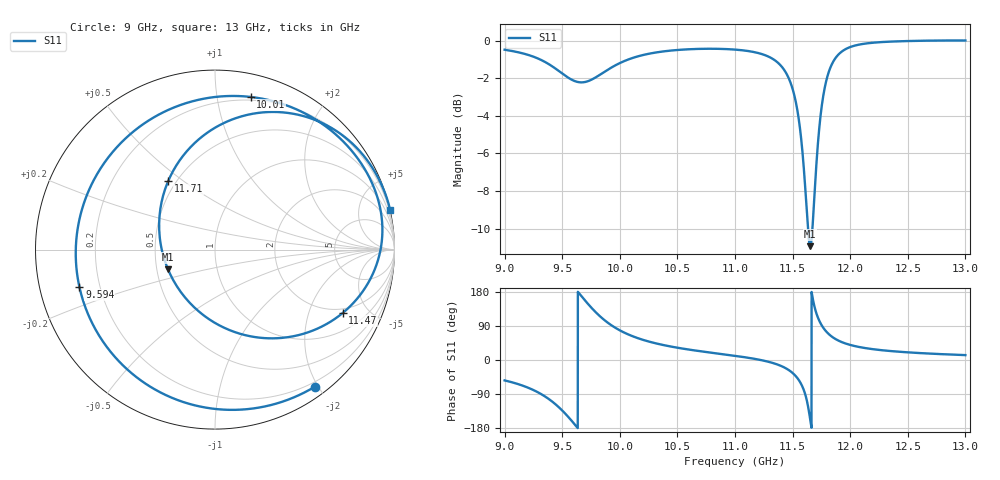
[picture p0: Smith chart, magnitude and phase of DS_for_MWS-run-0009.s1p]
! TOUCHSTONE file generated by CST DESIGN STUDIO
! Date and time: Tue Jan 28 13:43:21 2025
! Project name: C:\Work\MatlabApps\UnitCellOptimizationMatlab\CST\unitcell.cst
! Tree item: Tasks\Sweep1\SPara1\S-Parameters
! Header version: 2024
! Port assignment regex: !\s*Touchstone port\s*([0-9]+)\s*=\s*(CST MWS port|CST DES external port|CST DES block port)\s*(.+)\s* \(\"(.*)\"\)(\s*mode\s*([0-9]+))?.*
! Touchstone port assignment:
! Touchstone port 1 = CST DES external port 1 ("")
# GHz S MA R 50
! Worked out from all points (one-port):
!   4001 points, 9 GHz to 13 GHz, reference 50 ohm
!   lowest |S11| = -10.9 dB at 11.65 GHz (marker M1), VSWR 1.79, Z = 28.7 - j6.87 ohm
!   |S11| at or under -10 dB: 11.63335 GHz to 11.67202 GHz (38.68 MHz wide, 0.332 % of centre)
!   S11 on the Smith chart (normalised r, x): 9 GHz: 0.14, -1.96; 9.594 GHz: 0.12, -0.13; 10.01 GHz: 0.17, +1.25; 11.47 GHz: 1.77, -3.40; 11.71 GHz: 0.45, +0.44; 13 GHz: -0.00, +8.84
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9  0.9452 -53.9
9.169  0.9223 -69.0
9.321  0.8866 -90.6
9.416  0.8527 -110.4
9.5  0.8173 -133.2
9.594  0.7835 -164.7
9.687  0.7746 161.1
9.798  0.8004 123.9
9.89  0.8341 99.7
10  0.8709 78.3
10.009  0.8735 76.8
10.22  0.9177 51.5
10.5  0.9436 32.4
11  0.9459 11.0
11.306  0.9013 -6.0
11.466  0.7943 -26.4
11.5  0.7435 -34.3
11.588  0.4961 -72.2
11.62  0.3636 -102.3
11.653  0.284 -157.2
11.705  0.4615 124.5
11.748  0.6513 94.0
11.797  0.792 73.5
11.885  0.9086 53.2
12  0.9607 39.8
12.188  0.9859 28.9
12.5  0.9967 20.2
13  1 12.9
